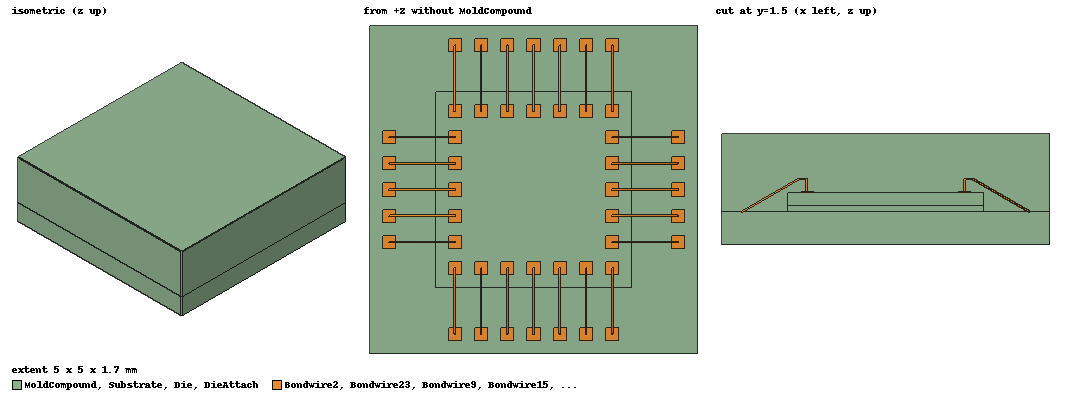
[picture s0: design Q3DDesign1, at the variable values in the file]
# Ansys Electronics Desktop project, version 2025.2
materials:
  vacuum: permittivity=1
  copper: permeability=0.999991 conductivity=58000000
  silicon: permittivity=11.9
  FR4_epoxy: permittivity=4.4 dielectric_loss_tangent=0.02
  modified_epoxy: permittivity=4.2 dielectric_loss_tangent=0.02
  gold: permeability=0.99996 conductivity=41000000
  epoxy_Kevlar_xy: permittivity=3.6

design Q3DDesign1 (Q3D Extractor, model units mm)
options: SParamCalcMethod=EqTransLine Calculate_Lossy_Dielectrics
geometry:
  Die [silicon] = rectangle(corner=(0mm, 0mm, 0mm), x_size=3mm, y_size=3mm)
  Die.thicken(0.2mm)
  Substrate [FR4_epoxy] = rectangle(corner=(-1mm, -1mm, -0.1mm), x_size=5mm, y_size=5mm)
  Substrate.thicken(-0.5mm)
  DieAttach [modified_epoxy] = rectangle(corner=(0mm, 0mm, 0mm), x_size=3mm, y_size=3mm)
  DieAttach.thicken(-0.1mm)
  DieBondPad [copper] = rectangle(corner=(0.2mm, 0.2mm, 0.2mm), x_size=0.2mm, y_size=0.2mm)
  DieBondPad.thicken(0.005mm)
  SubstrateBondPad [copper] = rectangle(corner=(0.2mm, -0.8mm, -0.1mm), x_size=0.2mm, y_size=0.2mm)
  Bondwire1 [gold] = bondwire(WireType=JEDEC_4Points WireDiameter=0.025mm NumSides=6 XPadPos=0.3mm YPadPos=0.3mm ZPadPos=0.205mm XDir=0mm YDir=-1mm ZDir=0mm Distance=1mm h1=0.2mm h2=0.305mm alpha=80deg beta=80deg WhichAxis=Z)
  DieBondPad1 [copper] = rectangle(corner=(0.6mm, 0.2mm, 0.2mm), x_size=0.2mm, y_size=0.2mm)
  DieBondPad1.thicken(0.005mm)
  DieBondPad2 [copper] = rectangle(corner=(1mm, 0.2mm, 0.2mm), x_size=0.2mm, y_size=0.2mm)
  DieBondPad2.thicken(0.005mm)
  DieBondPad3 [copper] = rectangle(corner=(1.4mm, 0.2mm, 0.2mm), x_size=0.2mm, y_size=0.2mm)
  DieBondPad3.thicken(0.005mm)
  DieBondPad4 [copper] = rectangle(corner=(1.8mm, 0.2mm, 0.2mm), x_size=0.2mm, y_size=0.2mm)
  DieBondPad4.thicken(0.005mm)
  DieBondPad5 [copper] = rectangle(corner=(2.2mm, 0.2mm, 0.2mm), x_size=0.2mm, y_size=0.2mm)
  DieBondPad5.thicken(0.005mm)
  DieBondPad6 [copper] = rectangle(corner=(2.6mm, 0.2mm, 0.2mm), x_size=0.2mm, y_size=0.2mm)
  DieBondPad6.thicken(0.005mm)
  DieBondPad7 [copper] = rectangle(corner=(2.2mm, 0.2mm, 0.2mm), x_size=0.2mm, y_size=0.2mm)
  DieBondPad7.thicken(0.005mm)
  DieBondPad8 [copper] = rectangle(corner=(0.2mm, 0.6mm, 0.2mm), x_size=0.2mm, y_size=0.2mm)
  DieBondPad8.thicken(0.005mm)
  DieBondPad9 [copper] = rectangle(corner=(0.2mm, 1mm, 0.2mm), x_size=0.2mm, y_size=0.2mm)
  DieBondPad9.thicken(0.005mm)
  DieBondPad10 [copper] = rectangle(corner=(0.2mm, 1.4mm, 0.2mm), x_size=0.2mm, y_size=0.2mm)
  DieBondPad10.thicken(0.005mm)
  DieBondPad11 [copper] = rectangle(corner=(0.2mm, 1.8mm, 0.2mm), x_size=0.2mm, y_size=0.2mm)
  DieBondPad11.thicken(0.005mm)
  DieBondPad12 [copper] = rectangle(corner=(0.2mm, 2.2mm, 0.2mm), x_size=0.2mm, y_size=0.2mm)
  DieBondPad12.thicken(0.005mm)
  DieBondPad13 [copper] = rectangle(corner=(0.2mm, 2.6mm, 0.2mm), x_size=0.2mm, y_size=0.2mm)
  DieBondPad13.thicken(0.005mm)
  DieBondPad14 [copper] = rectangle(corner=(0.6mm, 2.6mm, 0.2mm), x_size=0.2mm, y_size=0.2mm)
  DieBondPad14.thicken(0.005mm)
  DieBondPad15 [copper] = rectangle(corner=(1mm, 2.6mm, 0.2mm), x_size=0.2mm, y_size=0.2mm)
  DieBondPad15.thicken(0.005mm)
  DieBondPad16 [copper] = rectangle(corner=(1.4mm, 2.6mm, 0.2mm), x_size=0.2mm, y_size=0.2mm)
  DieBondPad16.thicken(0.005mm)
  DieBondPad17 [copper] = rectangle(corner=(1.8mm, 2.6mm, 0.2mm), x_size=0.2mm, y_size=0.2mm)
  DieBondPad17.thicken(0.005mm)
  DieBondPad18 [copper] = rectangle(corner=(2.2mm, 2.6mm, 0.2mm), x_size=0.2mm, y_size=0.2mm)
  DieBondPad18.thicken(0.005mm)
  DieBondPad19 [copper] = rectangle(corner=(2.6mm, 2.6mm, 0.2mm), x_size=0.2mm, y_size=0.2mm)
  [DieBondPad19, SubstrateBondPad].thicken(0.005mm)
  DieBondPad20 [copper] = rectangle(corner=(2.6mm, 2.2mm, 0.2mm), x_size=0.2mm, y_size=0.2mm)
  DieBondPad20.thicken(0.005mm)
  DieBondPad21 [copper] = rectangle(corner=(2.6mm, 1.8mm, 0.2mm), x_size=0.2mm, y_size=0.2mm)
  DieBondPad21.thicken(0.005mm)
  DieBondPad22 [copper] = rectangle(corner=(2.6mm, 1.4mm, 0.2mm), x_size=0.2mm, y_size=0.2mm)
  DieBondPad22.thicken(0.005mm)
  DieBondPad23 [copper] = rectangle(corner=(2.6mm, 1mm, 0.2mm), x_size=0.2mm, y_size=0.2mm)
  DieBondPad23.thicken(0.005mm)
  DieBondPad24 [copper] = rectangle(corner=(2.6mm, 0.6mm, 0.2mm), x_size=0.2mm, y_size=0.2mm)
  DieBondPad24.thicken(0.005mm)
  SubstrateBondPad1 [copper] = rectangle(corner=(0.6mm, -0.8mm, -0.1mm), x_size=0.2mm, y_size=0.2mm)
  SubstrateBondPad1.thicken(0.005mm)
  SubstrateBondPad2 [copper] = rectangle(corner=(1mm, -0.8mm, -0.1mm), x_size=0.2mm, y_size=0.2mm)
  SubstrateBondPad2.thicken(0.005mm)
  SubstrateBondPad3 [copper] = rectangle(corner=(1.4mm, -0.8mm, -0.1mm), x_size=0.2mm, y_size=0.2mm)
  SubstrateBondPad3.thicken(0.005mm)
  SubstrateBondPad4 [copper] = rectangle(corner=(1.8mm, -0.8mm, -0.1mm), x_size=0.2mm, y_size=0.2mm)
  SubstrateBondPad4.thicken(0.005mm)
  SubstrateBondPad5 [copper] = rectangle(corner=(2.2mm, -0.8mm, -0.1mm), x_size=0.2mm, y_size=0.2mm)
  SubstrateBondPad5.thicken(0.005mm)
  SubstrateBondPad6 [copper] = rectangle(corner=(2.6mm, -0.8mm, -0.1mm), x_size=0.2mm, y_size=0.2mm)
  SubstrateBondPad6.thicken(0.005mm)
  Bondwire2 [gold] = bondwire(WireType=JEDEC_4Points WireDiameter=0.025mm NumSides=6 XPadPos=0.7mm YPadPos=0.3mm ZPadPos=0.205mm XDir=0mm YDir=-1mm ZDir=0mm Distance=1mm h1=0.2mm h2=0.305mm alpha=80deg beta=80deg WhichAxis=Z)
  Bondwire3 [gold] = bondwire(WireType=JEDEC_4Points WireDiameter=0.025mm NumSides=6 XPadPos=1.1mm YPadPos=0.3mm ZPadPos=0.205mm XDir=0mm YDir=-1mm ZDir=0mm Distance=1mm h1=0.2mm h2=0.305mm alpha=80deg beta=80deg WhichAxis=Z)
  Bondwire4 [gold] = bondwire(WireType=JEDEC_4Points WireDiameter=0.025mm NumSides=6 XPadPos=1.5mm YPadPos=0.3mm ZPadPos=0.205mm XDir=0mm YDir=-1mm ZDir=0mm Distance=1mm h1=0.2mm h2=0.305mm alpha=80deg beta=80deg WhichAxis=Z)
  Bondwire5 [gold] = bondwire(WireType=JEDEC_4Points WireDiameter=0.025mm NumSides=6 XPadPos=1.9mm YPadPos=0.3mm ZPadPos=0.205mm XDir=0mm YDir=-1mm ZDir=0mm Distance=1mm h1=0.2mm h2=0.305mm alpha=80deg beta=80deg WhichAxis=Z)
  Bondwire6 [gold] = bondwire(WireType=JEDEC_4Points WireDiameter=0.025mm NumSides=6 XPadPos=2.3mm YPadPos=0.3mm ZPadPos=0.205mm XDir=0mm YDir=-1mm ZDir=0mm Distance=1mm h1=0.2mm h2=0.305mm alpha=80deg beta=80deg WhichAxis=Z)
  Bondwire7 [gold] = bondwire(WireType=JEDEC_4Points WireDiameter=0.025mm NumSides=6 XPadPos=2.7mm YPadPos=0.3mm ZPadPos=0.205mm XDir=0mm YDir=-1mm ZDir=0mm Distance=1mm h1=0.2mm h2=0.305mm alpha=80deg beta=80deg WhichAxis=Z)
  SubstrateBondPad7 [copper] = rectangle(corner=(2.6mm, 3.6mm, -0.1mm), x_size=0.2mm, y_size=0.2mm)
  SubstrateBondPad7.thicken(0.005mm)
  SubstrateBondPad8 [copper] = rectangle(corner=(2.2mm, 3.6mm, -0.1mm), x_size=0.2mm, y_size=0.2mm)
  SubstrateBondPad8.thicken(0.005mm)
  SubstrateBondPad9 [copper] = rectangle(corner=(1.8mm, 3.6mm, -0.1mm), x_size=0.2mm, y_size=0.2mm)
  SubstrateBondPad9.thicken(0.005mm)
  SubstrateBondPad10 [copper] = rectangle(corner=(1.4mm, 3.6mm, -0.1mm), x_size=0.2mm, y_size=0.2mm)
  SubstrateBondPad10.thicken(0.005mm)
  SubstrateBondPad11 [copper] = rectangle(corner=(1mm, 3.6mm, -0.1mm), x_size=0.2mm, y_size=0.2mm)
  SubstrateBondPad11.thicken(0.005mm)
  SubstrateBondPad12 [copper] = rectangle(corner=(0.6mm, 3.6mm, -0.1mm), x_size=0.2mm, y_size=0.2mm)
  SubstrateBondPad12.thicken(0.005mm)
  SubstrateBondPad13 [copper] = rectangle(corner=(0.2mm, 3.6mm, -0.1mm), x_size=0.2mm, y_size=0.2mm)
  SubstrateBondPad13.thicken(0.005mm)
  Bondwire8 [gold] = bondwire(WireType=JEDEC_4Points WireDiameter=0.025mm NumSides=6 XPadPos=0.3mm YPadPos=2.7mm ZPadPos=0.205mm XDir=0mm YDir=1mm ZDir=0mm Distance=1mm h1=0.2mm h2=0.305mm alpha=80deg beta=80deg WhichAxis=Z)
  Bondwire9 [gold] = bondwire(WireType=JEDEC_4Points WireDiameter=0.025mm NumSides=6 XPadPos=0.7mm YPadPos=2.7mm ZPadPos=0.205mm XDir=0mm YDir=1mm ZDir=0mm Distance=1mm h1=0.2mm h2=0.305mm alpha=80deg beta=80deg WhichAxis=Z)
  Bondwire10 [gold] = bondwire(WireType=JEDEC_4Points WireDiameter=0.025mm NumSides=6 XPadPos=1.1mm YPadPos=2.7mm ZPadPos=0.205mm XDir=0mm YDir=1mm ZDir=0mm Distance=1mm h1=0.2mm h2=0.305mm alpha=80deg beta=80deg WhichAxis=Z)
  Bondwire11 [gold] = bondwire(WireType=JEDEC_4Points WireDiameter=0.025mm NumSides=6 XPadPos=1.5mm YPadPos=2.7mm ZPadPos=0.205mm XDir=0mm YDir=1mm ZDir=0mm Distance=1mm h1=0.2mm h2=0.305mm alpha=80deg beta=80deg WhichAxis=Z)
  Bondwire12 [gold] = bondwire(WireType=JEDEC_4Points WireDiameter=0.025mm NumSides=6 XPadPos=1.9mm YPadPos=2.7mm ZPadPos=0.205mm XDir=0mm YDir=1mm ZDir=0mm Distance=1mm h1=0.2mm h2=0.305mm alpha=80deg beta=80deg WhichAxis=Z)
  Bondwire13 [gold] = bondwire(WireType=JEDEC_4Points WireDiameter=0.025mm NumSides=6 XPadPos=2.3mm YPadPos=2.7mm ZPadPos=0.205mm XDir=0mm YDir=1mm ZDir=0mm Distance=1mm h1=0.2mm h2=0.305mm alpha=80deg beta=80deg WhichAxis=Z)
  Bondwire14 [gold] = bondwire(WireType=JEDEC_4Points WireDiameter=0.025mm NumSides=6 XPadPos=2.7mm YPadPos=2.7mm ZPadPos=0.205mm XDir=0mm YDir=1mm ZDir=0mm Distance=1mm h1=0.2mm h2=0.305mm alpha=80deg beta=80deg WhichAxis=Z)
  SubstrateBondPad14 [copper] = rectangle(corner=(3.6mm, 0.6mm, -0.1mm), x_size=0.2mm, y_size=0.2mm)
  SubstrateBondPad14.thicken(0.005mm)
  SubstrateBondPad15 [copper] = rectangle(corner=(3.6mm, 1mm, -0.1mm), x_size=0.2mm, y_size=0.2mm)
  SubstrateBondPad15.thicken(0.005mm)
  SubstrateBondPad16 [copper] = rectangle(corner=(3.6mm, 1.4mm, -0.1mm), x_size=0.2mm, y_size=0.2mm)
  SubstrateBondPad16.thicken(0.005mm)
  SubstrateBondPad17 [copper] = rectangle(corner=(3.6mm, 1.8mm, -0.1mm), x_size=0.2mm, y_size=0.2mm)
  SubstrateBondPad17.thicken(0.005mm)
  SubstrateBondPad18 [copper] = rectangle(corner=(3.6mm, 2.2mm, -0.1mm), x_size=0.2mm, y_size=0.2mm)
  SubstrateBondPad18.thicken(0.005mm)
  SubstrateBondPad19 [copper] = rectangle(corner=(-0.8mm, 0.6mm, -0.1mm), x_size=0.2mm, y_size=0.2mm)
  SubstrateBondPad19.thicken(0.005mm)
  SubstrateBondPad20 [copper] = rectangle(corner=(-0.8mm, 1mm, -0.1mm), x_size=0.2mm, y_size=0.2mm)
  SubstrateBondPad20.thicken(0.005mm)
  SubstrateBondPad21 [copper] = rectangle(corner=(-0.8mm, 1.4mm, -0.1mm), x_size=0.2mm, y_size=0.2mm)
  SubstrateBondPad21.thicken(0.005mm)
  SubstrateBondPad22 [copper] = rectangle(corner=(-0.8mm, 1.8mm, -0.1mm), x_size=0.2mm, y_size=0.2mm)
  SubstrateBondPad22.thicken(0.005mm)
  SubstrateBondPad23 [copper] = rectangle(corner=(-0.8mm, 2.2mm, -0.1mm), x_size=0.2mm, y_size=0.2mm)
  SubstrateBondPad23.thicken(0.005mm)
  Bondwire15 [gold] = bondwire(WireType=JEDEC_4Points WireDiameter=0.025mm NumSides=6 XPadPos=2.7mm YPadPos=0.7mm ZPadPos=0.205mm XDir=1mm YDir=0mm ZDir=0mm Distance=1mm h1=0.2mm h2=0.305mm alpha=80deg beta=80deg WhichAxis=Z)
  Bondwire16 [gold] = bondwire(WireType=JEDEC_4Points WireDiameter=0.025mm NumSides=6 XPadPos=2.7mm YPadPos=1.1mm ZPadPos=0.205mm XDir=1mm YDir=0mm ZDir=0mm Distance=1mm h1=0.2mm h2=0.305mm alpha=80deg beta=80deg WhichAxis=Z)
  Bondwire17 [gold] = bondwire(WireType=JEDEC_4Points WireDiameter=0.025mm NumSides=6 XPadPos=2.7mm YPadPos=1.5mm ZPadPos=0.205mm XDir=1mm YDir=0mm ZDir=0mm Distance=1mm h1=0.2mm h2=0.305mm alpha=80deg beta=80deg WhichAxis=Z)
  Bondwire18 [gold] = bondwire(WireType=JEDEC_4Points WireDiameter=0.025mm NumSides=6 XPadPos=2.7mm YPadPos=1.9mm ZPadPos=0.205mm XDir=1mm YDir=0mm ZDir=0mm Distance=1mm h1=0.2mm h2=0.305mm alpha=80deg beta=80deg WhichAxis=Z)
  Bondwire19 [gold] = bondwire(WireType=JEDEC_4Points WireDiameter=0.025mm NumSides=6 XPadPos=0.3mm YPadPos=2.3mm ZPadPos=0.205mm XDir=-1mm YDir=0mm ZDir=0mm Distance=1mm h1=0.2mm h2=0.305mm alpha=80deg beta=80deg WhichAxis=Z)
  Bondwire20 [gold] = bondwire(WireType=JEDEC_4Points WireDiameter=0.025mm NumSides=6 XPadPos=0.3mm YPadPos=1.9mm ZPadPos=0.205mm XDir=-1mm YDir=0mm ZDir=0mm Distance=1mm h1=0.2mm h2=0.305mm alpha=80deg beta=80deg WhichAxis=Z)
  Bondwire21 [gold] = bondwire(WireType=JEDEC_4Points WireDiameter=0.025mm NumSides=6 XPadPos=0.3mm YPadPos=1.5mm ZPadPos=0.205mm XDir=-1mm YDir=0mm ZDir=0mm Distance=1mm h1=0.2mm h2=0.305mm alpha=80deg beta=80deg WhichAxis=Z)
  Bondwire22 [gold] = bondwire(WireType=JEDEC_4Points WireDiameter=0.025mm NumSides=6 XPadPos=0.3mm YPadPos=1.1mm ZPadPos=0.205mm XDir=-1mm YDir=0mm ZDir=0mm Distance=1mm h1=0.2mm h2=0.305mm alpha=80deg beta=80deg WhichAxis=Z)
  Bondwire23 [gold] = bondwire(WireType=JEDEC_4Points WireDiameter=0.025mm NumSides=6 XPadPos=0.3mm YPadPos=0.7mm ZPadPos=0.205mm XDir=-1mm YDir=0mm ZDir=0mm Distance=1mm h1=0.2mm h2=0.305mm alpha=80deg beta=80deg WhichAxis=Z)
  Bondwire24 [gold] = bondwire(WireType=JEDEC_4Points WireDiameter=0.025mm NumSides=6 XPadPos=2.7mm YPadPos=2.3mm ZPadPos=0.205mm XDir=1mm YDir=0mm ZDir=0mm Distance=1mm h1=0.2mm h2=0.305mm alpha=80deg beta=80deg WhichAxis=Z)
  MoldCompound [epoxy_Kevlar_xy] = rectangle(corner=(-1mm, -1mm, -0.1mm), x_size=5mm, y_size=5mm)
  MoldCompound.thicken(1.2mm)
